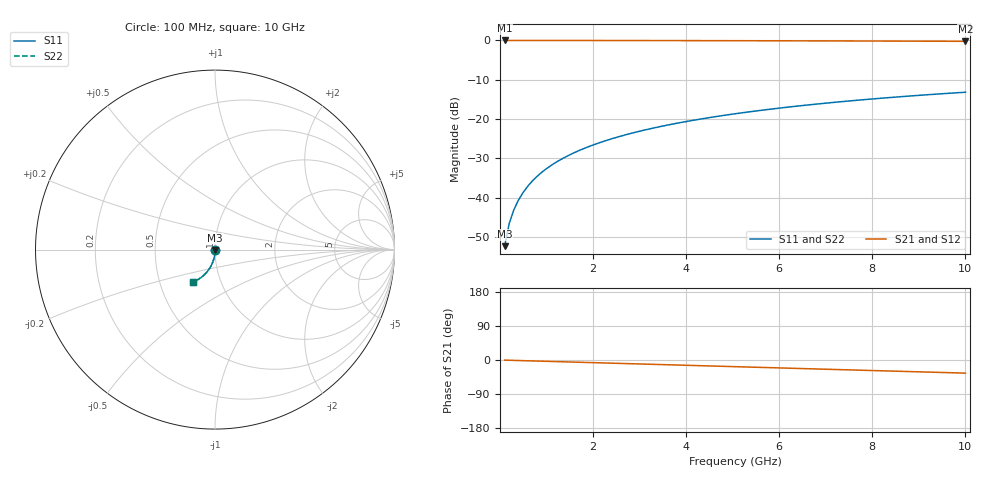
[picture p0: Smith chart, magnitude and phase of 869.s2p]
# Hz S RI R 50.00
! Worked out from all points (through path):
!   100 points, 100 MHz to 10 GHz, reference 50 ohm
!   highest |S21| = -0.01 dB at 100 MHz (marker M1); lowest = -0.2 dB at 10 GHz (marker M2)
!   group delay of S21, straight-line fit = 9.63 ps
!   lowest |S11| = -52.3 dB at 100 MHz (marker M3), VSWR 1.00, Z = 50.1 - j0.235 ohm
!   |S11| at or under -10 dB: start of sweep to end of sweep
!   |S22| runs from -52.3 to -13.2 dB; largest |S21 - S12| = 0
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1e8  0.000607 -0.00235  0.9993 -0.00607  0.9993 -0.00607  0.000607 -0.00235
2e8  0.000565 -0.0047  0.9993 -0.0121  0.9993 -0.0121  0.000565 -0.0047
3e8  0.000493 -0.00705  0.9992 -0.0182  0.9992 -0.0182  0.000493 -0.00705
4e8  0.000391 -0.0094  0.999 -0.0243  0.999 -0.0243  0.000391 -0.0094
5e8  0.000261 -0.0117  0.9988 -0.0304  0.9988 -0.0304  0.000261 -0.0117
6e8  0.000102 -0.0141  0.9986 -0.0364  0.9986 -0.0364  0.000102 -0.0141
7e8  -8.57e-05 -0.0164  0.9983 -0.0425  0.9983 -0.0425  -8.57e-05 -0.0164
8e8  -0.000302 -0.0188  0.998 -0.0486  0.998 -0.0486  -0.000302 -0.0188
9e8  -0.000547 -0.0211  0.9976 -0.0546  0.9976 -0.0546  -0.000547 -0.0211
1.1e9  -0.00112 -0.0258  0.9967 -0.0667  0.9967 -0.0667  -0.00112 -0.0258
1.4e9  -0.0022 -0.0328  0.9951 -0.0849  0.9951 -0.0849  -0.0022 -0.0328
1.8e9  -0.00403 -0.042  0.9924 -0.109  0.9924 -0.109  -0.00403 -0.042
2.1e9  -0.0057 -0.0489  0.9899 -0.1271  0.9899 -0.1271  -0.0057 -0.0489
2.5e9  -0.00831 -0.0579  0.986 -0.1511  0.986 -0.1511  -0.00831 -0.0579
2.9e9  -0.0114 -0.0669  0.9814 -0.1749  0.9814 -0.1749  -0.0114 -0.0669
3.4e9  -0.0158 -0.0778  0.9748 -0.2045  0.9748 -0.2045  -0.0158 -0.0778
4.2e9  -0.0242 -0.0947  0.9621 -0.2512  0.9621 -0.2512  -0.0242 -0.0947
5.1e9  -0.0355 -0.1125  0.9448 -0.3027  0.9448 -0.3027  -0.0355 -0.1125
5.9e9  -0.0472 -0.1273  0.9269 -0.3473  0.9269 -0.3473  -0.0472 -0.1273
6.7e9  -0.0602 -0.1408  0.9066 -0.3906  0.9066 -0.3906  -0.0602 -0.1408
8.4e9  -0.0915 -0.1648  0.8566 -0.4781  0.8566 -0.4781  -0.0915 -0.1648
1e10  -0.1245 -0.1809  0.8017 -0.5538  0.8017 -0.5538  -0.1245 -0.1809
